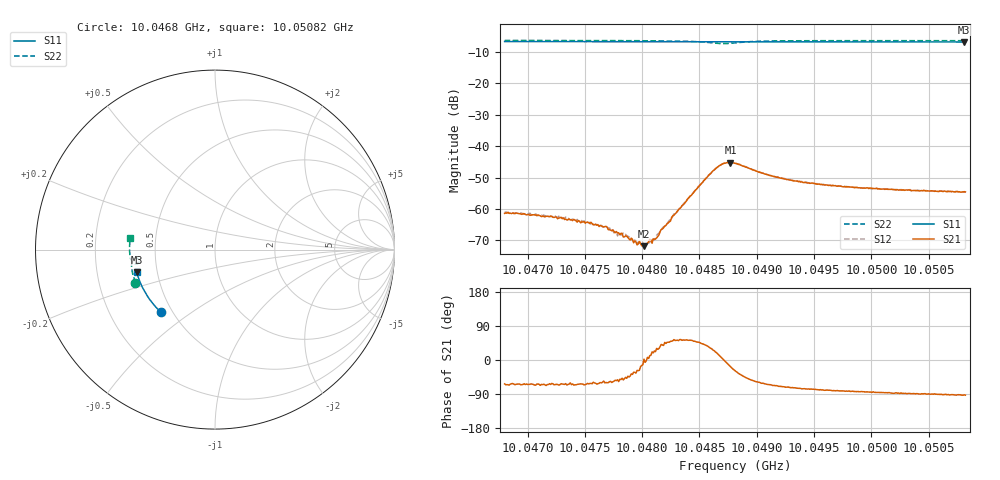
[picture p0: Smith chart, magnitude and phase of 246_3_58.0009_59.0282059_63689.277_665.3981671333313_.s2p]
#  HZ  S  RI  R  50.00
! Rohde & Schwarz Vector Network Analyzer
! Rohde-Schwarz,ZNB20-2Port,1311601062101988,3.16
! Created: UTC 3/21/2024, 1:01:17 AM
! freq[Hz]  re:S11  im:S11  re:S21  im:S21  re:S12  im:S12  re:S22  im:S22
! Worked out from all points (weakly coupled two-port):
!   401 points, 10.0468 GHz to 10.05082 GHz, reference 50 ohm
!   highest |S21| = -45.20 dB at 10.04877 GHz (marker M1); lowest = -71.8 dB at 10.04802 GHz (marker M2)
!   lowest |S11| = -6.9 dB at 10.05081 GHz (marker M3), VSWR 2.66, Z = 19.1 - j5.99 ohm
!   |S11| at or under -10 dB: nowhere
!   |S22| runs from -7.4 to -6.4 dB; largest |S21 - S12| = 0.00037
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1.0046799e10  -0.3018 -0.3481  0.000386 -0.000761  0.000435 -0.000769  -0.443 -0.1838
1.0047191e10  -0.3205 -0.33  0.000347 -0.00067  0.000388 -0.000658  -0.4518 -0.1585
1.0047473e10  -0.3332 -0.3163  0.00028 -0.00056  0.000333 -0.00056  -0.4572 -0.1397
1.0047674e10  -0.3418 -0.3061  0.000262 -0.000456  0.000315 -0.000422  -0.4605 -0.1256
1.0047764e10  -0.3457 -0.3017  0.000251 -0.000338  0.000272 -0.000341  -0.4618 -0.1191
1.0047855e10  -0.3494 -0.2969  0.00026 -0.000268  0.000291 -0.000267  -0.4631 -0.1123
1.0047945e10  -0.3532 -0.2921  0.000249 -0.000171  0.000276 -0.000129  -0.464 -0.1053
1.0048016e10  -0.3559 -0.2885  0.000257 9.57e-06  0.000277 -2.48e-05  -0.4647 -0.0998
1.0048046e10  -0.3572 -0.2868  0.000288 3.54e-05  0.000271 5.26e-05  -0.4647 -0.0974
1.0048106e10  -0.3595 -0.2836  0.000304 0.000134  0.000288 0.000142  -0.465 -0.0924
1.0048146e10  -0.3612 -0.2815  0.000334 0.000196  0.000327 0.00025  -0.4651 -0.0891
1.0048277e10  -0.3662 -0.2746  0.000473 0.000645  0.00049 0.000678  -0.4642 -0.077
1.0048599e10  -0.3777 -0.2567  0.00316 0.00187  0.0031 0.00211  -0.4392 -0.0476
1.004869e10  -0.3808 -0.2517  0.00503 0.000622  0.00502 0.000941  -0.4237 -0.0568
1.004877e10  -0.3834 -0.2474  0.00524 -0.00164  0.00538 -0.00134  -0.4256 -0.0741
1.004881e10  -0.3849 -0.2454  0.00474 -0.00253  0.0049 -0.00226  -0.4322 -0.0791
1.0049132e10  -0.3957 -0.2271  0.00135 -0.00308  0.00153 -0.00301  -0.4672 -0.0587
1.0049484e10  -0.4062 -0.2063  0.000586 -0.00253  0.000705 -0.00246  -0.4743 -0.0287
1.0049766e10  -0.4139 -0.1894  0.000308 -0.00226  0.000439 -0.00225  -0.4759 -0.00764
1.0050158e10  -0.4234 -0.1655  0.00014 -0.00205  0.000223 -0.00204  -0.4757 0.0202
1.0050811e10  -0.4362 -0.1244  -7.06e-05 -0.00189  1.63e-05 -0.00185  -0.4716 0.0643
1.0050821e10  -0.4364 -0.1238  -9.16e-05 -0.00187  1.04e-05 -0.00187  -0.4716 0.065
